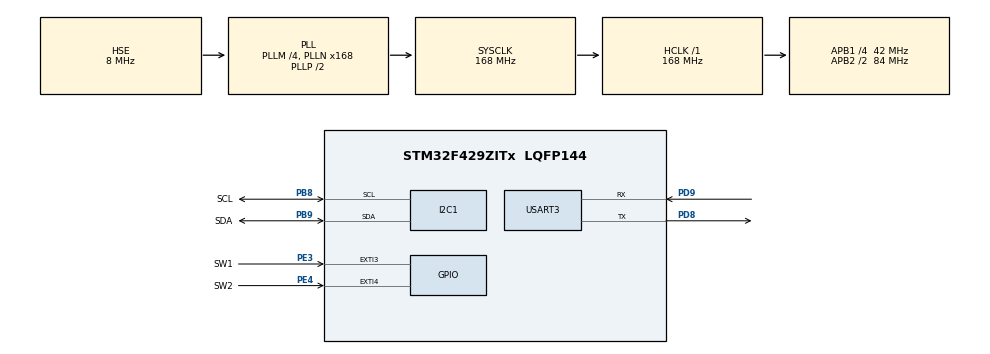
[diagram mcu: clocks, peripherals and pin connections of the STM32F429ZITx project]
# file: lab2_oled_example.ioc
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FREERTOS.Tasks01=defaultTask,24,128,StartDefaultTask,Default,NULL,Dynamic,NULL,NULL
I2C1.I2C_Mode=I2C_Fast
Mcu.Family=STM32F4
Mcu.Name=STM32F429ZITx
Mcu.Package=LQFP144
NVIC.EXTI3_IRQn=true\:5\:0\:false\:false\:true\:true\:true\:true\:true
NVIC.EXTI4_IRQn=true\:5\:0\:false\:false\:true\:true\:true\:true\:true
NVIC.PriorityGroup=NVIC_PRIORITYGROUP_4
NVIC.TIM1_UP_TIM10_IRQn=true\:15\:0\:false\:false\:true\:false\:false\:true\:true
NVIC.TimeBase=TIM1_UP_TIM10_IRQn
NVIC.TimeBaseIP=TIM1
PA13.Mode=Serial_Wire
PA13.Signal=SYS_JTMS-SWDIO
PA14.Mode=Serial_Wire
PA14.Signal=SYS_JTCK-SWCLK
PB8.GPIO_Label=SCL
PB8.Mode=I2C
PB8.Signal=I2C1_SCL
PB9.GPIO_Label=SDA
PB9.Mode=I2C
PB9.Signal=I2C1_SDA
PD8.Mode=Asynchronous
PD8.Signal=USART3_TX
PD9.Mode=Asynchronous
PD9.Signal=USART3_RX
PE3.GPIO_Label=SW1
PE3.Signal=GPXTI3
PE4.GPIO_Label=SW2
PE4.Signal=GPXTI4
PH0/OSC_IN.Mode=HSE-External-Oscillator
PH0/OSC_IN.Signal=RCC_OSC_IN
PH1/OSC_OUT.Mode=HSE-External-Oscillator
PH1/OSC_OUT.Signal=RCC_OSC_OUT
ProjectManager.HeapSize=0x200
ProjectManager.StackSize=0x400
ProjectManager.TargetToolchain=MDK-ARM V5.32
RCC.48MHZClocksFreq_Value=48000000
RCC.AHBFreq_Value=168000000
RCC.APB1CLKDivider=RCC_HCLK_DIV4
RCC.APB1Freq_Value=42000000
RCC.APB1TimFreq_Value=84000000
RCC.APB2CLKDivider=RCC_HCLK_DIV2
RCC.APB2Freq_Value=84000000
RCC.APB2TimCLKDivider=2
RCC.APB2TimFreq_Value=168000000
RCC.CortexFreq_Value=168000000
RCC.HCLKFreq_Value=168000000
RCC.HSE_VALUE=8000000
RCC.HSI_VALUE=16000000
RCC.LSE_VALUE=32768
RCC.PLLM=4
RCC.PLLMUL=RCC_PLL_MUL9
RCC.PLLN=168
RCC.PLLQ=7
RCC.PLLSourceVirtual=RCC_PLLSOURCE_HSE
RCC.PRESCALERUSB=RCC_USBCLKSOURCE_PLL_DIV1_5
RCC.SYSCLKFreq_VALUE=168000000
RCC.SYSCLKSource=RCC_SYSCLKSOURCE_PLLCLK
RCC.SYSCLKSourceVirtual=RCC_SYSCLKSOURCE_PLLCLK
RCC.USBFreq_Value=48000000
RCC.VCOOutputFreq_Value=336000000
USART3.VirtualMode=VM_ASYNC
VP_FREERTOS_VS_CMSIS_V2.Mode=CMSIS_V2
VP_SYS_VS_tim1.Mode=TIM1
board=NUCLEO-F429ZI

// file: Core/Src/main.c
/* USER CODE BEGIN Header */
/**
  ******************************************************************************
  * @file           : main.c
  * @brief          : Main program body
  ******************************************************************************
  * @attention
  *
  * Copyright (c) 2024 STMicroelectronics.
  * All rights reserved.
  *
  * This software is licensed under terms that can be found in the LICENSE file
  * in the root directory of this software component.
  * If no LICENSE file comes with this software, it is provided AS-IS.
  *
  ******************************************************************************
  */
/* USER CODE END Header */
#include "main.h"
#include "i2c.h"
#include "usart.h"
#include "gpio.h"

/* USER CODE BEGIN Includes */
#include "FreeRTOS.h"
#include "task.h"
#include "queue.h"
#include "oled.h"
#include "u8g2.h"
#include "stdio.h"
#include "stdbool.h"
#include "string.h"
#include "img_qrcode.h"
#include "bongo_cat_1.h"
#include "bongo_cat_2.h"
/* USER CODE END Includes */

/* USER CODE BEGIN PD */
TaskHandle_t handleOled;
QueueHandle_t queueSwitch;

u8g2_t u8g2;
/* USER CODE END PD */

void SystemClock_Config(void);

/* USER CODE BEGIN 0 */
void taskOLED(void *pvParm){
	u8g2Init(&u8g2);
	u8g2_ClearBuffer(&u8g2);
	u8g2_ClearDisplay(&u8g2);
	u8g2_SetFont(&u8g2, u8g2_font_samim_16_t_all);
	uint8_t displayMode = 9;
	uint8_t stuID[9] = "M11217003";
	char str[10];
	bool bongo;

	while(1){

		xQueueReceive(queueSwitch, &displayMode, NULL);

		switch(displayMode){
			case 0:{
				u8g2_ClearBuffer(&u8g2);
				u8g2_DrawCircle(&u8g2, 8, 24, 6, U8G2_DRAW_ALL);
				snprintf(str, 10, "%s", stuID);
				u8g2_DrawStr(&u8g2, 18, 30, str);
				u8g2_DrawLine(&u8g2, 18, 35, 103, 35);
				u8g2_DrawBox(&u8g2, 110, 18, 12, 12);
				u8g2_SendBuffer(&u8g2);

				break;
			}

			case 1:{

				u8g2_ClearBuffer(&u8g2);
				u8g2_DrawStr(&u8g2, 70, 10, "scan");
				u8g2_DrawStr(&u8g2, 70, 30, "qrcode");
				u8g2_DrawXBMP(&u8g2, 0, 0, 64, 64, gImage_img_qrcode);
				u8g2_SendBuffer(&u8g2);

				break;
			}

			default:{
				u8g2_ClearBuffer(&u8g2);
				if(bongo){
					u8g2_DrawXBMP(&u8g2, 13, 0, 101, 64, gImage_bongo_cat_1);
				}
				else{
					u8g2_DrawXBMP(&u8g2, 13, 0, 101, 64, gImage_bongo_cat_2);
				}
				u8g2_SendBuffer(&u8g2);
				break;
			}
		}

		bongo = !bongo;
		vTaskDelay(200);
	}
}

/****
sw1, 2 -> rising edge
sw3, 4 -> falling edge
****/

void HAL_GPIO_EXTI_Callback(uint16_t GPIO_Pin){
	uint8_t mode = 0;

	switch(GPIO_Pin){
		//sw1 PE3
		case GPIO_PIN_3:
		{
			if(HAL_GPIO_ReadPin(SW1_GPIO_Port, SW1_Pin) == 1){
				mode = 0;
				printf("display mode:student id, line, circle\r\n");
				xQueueSendFromISR(queueSwitch, &mode, NULL);
			}
			break;
		}

		//sw2 PE4
		case GPIO_PIN_4:
		{
			if(HAL_GPIO_ReadPin(SW2_GPIO_Port, SW2_Pin) == 1){
				mode = 1;
				printf("display mode:show QRcode, timer \r\n");
				xQueueSendFromISR(queueSwitch, &mode, NULL);
			}
			break;
		}

		default:
			mode = 0;
			xQueueSendFromISR(queueSwitch, &mode, NULL);
			printf("unknown irq happend \r\n");
			break;
	}
}

/* USER CODE END 0 */

int main(void)
{

  /* MCU Configuration--------------------------------------------------------*/

  /* Reset of all peripherals, Initializes the Flash interface and the Systick. */
  HAL_Init();

  /* Configure the system clock */
  SystemClock_Config();

  /* Initialize all configured peripherals */
  MX_GPIO_Init();
  MX_I2C1_Init();
  MX_USART3_UART_Init();
  /* USER CODE BEGIN 2 */
	queueSwitch = xQueueCreate(3, sizeof(uint8_t));
	xTaskCreate(taskOLED, "OLED", 512, NULL, 1, &handleOled);

	vTaskStartScheduler();
  /* USER CODE END 2 */

  /* We should never get here as control is now taken by the scheduler */
  /* Infinite loop */
  while (1)
  {

  }
}

void SystemClock_Config(void)
{
  RCC_OscInitTypeDef RCC_OscInitStruct = {0};
  RCC_ClkInitTypeDef RCC_ClkInitStruct = {0};

  /** Configure the main internal regulator output voltage
  */
  __HAL_RCC_PWR_CLK_ENABLE();
  __HAL_PWR_VOLTAGESCALING_CONFIG(PWR_REGULATOR_VOLTAGE_SCALE1);

  /** Initializes the RCC Oscillators according to the specified parameters
  * in the RCC_OscInitTypeDef structure.
  */
  RCC_OscInitStruct.OscillatorType = RCC_OSCILLATORTYPE_HSE;
  RCC_OscInitStruct.HSEState = RCC_HSE_ON;
  RCC_OscInitStruct.PLL.PLLState = RCC_PLL_ON;
  RCC_OscInitStruct.PLL.PLLSource = RCC_PLLSOURCE_HSE;
  RCC_OscInitStruct.PLL.PLLM = 4;
  RCC_OscInitStruct.PLL.PLLN = 168;
  RCC_OscInitStruct.PLL.PLLP = RCC_PLLP_DIV2;
  RCC_OscInitStruct.PLL.PLLQ = 7;
  if (HAL_RCC_OscConfig(&RCC_OscInitStruct) != HAL_OK)
  {
    Error_Handler();
  }

  /** Initializes the CPU, AHB and APB buses clocks
  */
  RCC_ClkInitStruct.ClockType = RCC_CLOCKTYPE_HCLK|RCC_CLOCKTYPE_SYSCLK
                              |RCC_CLOCKTYPE_PCLK1|RCC_CLOCKTYPE_PCLK2;
  RCC_ClkInitStruct.SYSCLKSource = RCC_SYSCLKSOURCE_PLLCLK;
  RCC_ClkInitStruct.AHBCLKDivider = RCC_SYSCLK_DIV1;
  RCC_ClkInitStruct.APB1CLKDivider = RCC_HCLK_DIV4;
  RCC_ClkInitStruct.APB2CLKDivider = RCC_HCLK_DIV2;

  if (HAL_RCC_ClockConfig(&RCC_ClkInitStruct, FLASH_LATENCY_5) != HAL_OK)
  {
    Error_Handler();
  }
}

void HAL_TIM_PeriodElapsedCallback(TIM_HandleTypeDef *htim)
{
  if (htim->Instance == TIM1) {
    HAL_IncTick();
  }
}

void Error_Handler(void)
{
  __disable_irq();
  while (1)
  {
  }
}
